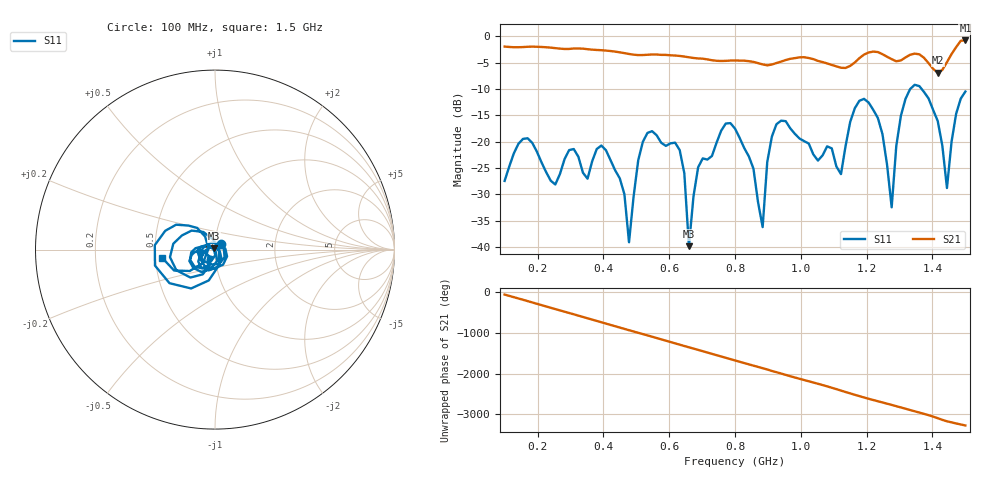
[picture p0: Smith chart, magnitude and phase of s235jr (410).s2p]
! NanoVNA-App
! Date: 2025-09-25 15:07:21
! Start: 100MHz Stop: 1,5GHz Points: 101
! S-Parameter data: F S11 S21 S12 S22
# Hz S RI R 50
!  Frequency  S11_Real  S11_Imag  S21_Real  S21_Imag  S12_Real  S12_Imag  S22_Real  S22_Imag
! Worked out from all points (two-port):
!   101 points, 100 MHz to 1.5 GHz, reference 50 ohm
!   highest |S21| = -0.80 dB at 1.5 GHz (marker M1); lowest = -6.9 dB at 1.416 GHz (marker M2)
!   |S21| within 3 dB of the highest: start of sweep to 639.3 MHz; 1.185 GHz to 1.259 GHz (74.08 MHz wide, 6.06 % of centre) (the widest 2 of 4)
!   lowest |S11| = -39.9 dB at 660 MHz (marker M3), VSWR 1.02, Z = 49.2 + j0.638 ohm
!   |S11| at or under -10 dB: start of sweep to 1.333 GHz; 1.367 GHz to end of sweep
!   S12 and S22 are empty: the file has one direction only
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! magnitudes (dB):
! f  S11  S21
! 100 MHz  -27.5  -2.0
! 170 MHz  -19.4  -2.0
! 338 MHz  -25.9  -2.4
! 408 MHz  -21.6  -2.7
! 478 MHz  -39.1  -3.4
! 520 MHz  -20.0  -3.6
! 576 MHz  -20.2  -3.5
! 632 MHz  -21.6  -3.7
! 660 MHz  -39.9  -4.0
! 688 MHz  -24.9  -4.2
! 800 MHz  -17.5  -4.6
! 884 MHz  -36.2  -5.3
! 926 MHz  -16.7  -5.1
! 1.038 GHz  -22.4  -4.3
! 1.122 GHz  -26.2  -6.0
! 1.192 GHz  -11.9  -3.5
! 1.248 GHz  -18.6  -3.4
! 1.276 GHz  -32.5  -4.4
! 1.332 GHz  -10.0  -3.5
! 1.416 GHz  -16.1  -6.9
! 1.444 GHz  -28.8  -4.9
! 1.5 GHz  -10.5  -0.8
